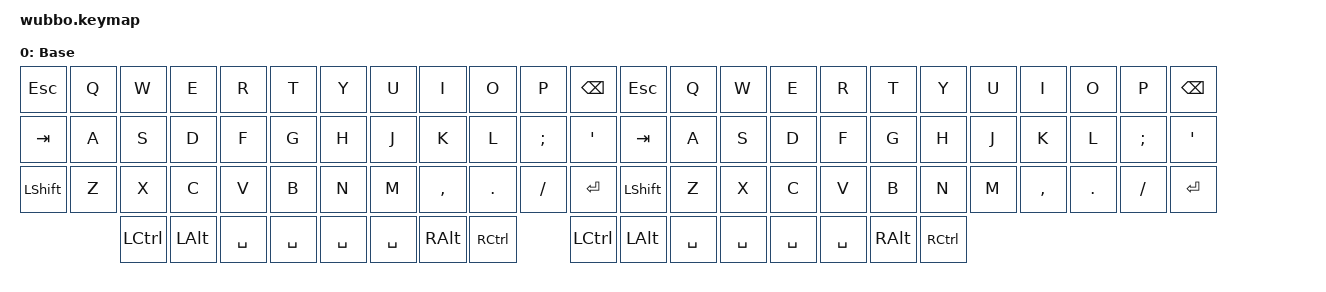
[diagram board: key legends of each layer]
/*
 * Copyright (c) 2022 Pete Johanson
 *
 * SPDX-License-Identifier: MIT
 */

#include <behaviors.dtsi>
#include <dt-bindings/zmk/keys.h>
#include <dt-bindings/zmk/bt.h>
#include <dt-bindings/zmk/outputs.h>



#define BAS_L 0
#define NAV_L 1
#define NUM_L 2
#define SYM_L 3

// Using layer taps on thumbs, having quick tap as well helps w/ repeating space/backspace
&lt { quick_tap_ms = <200>; };

#define BT(n) BT_SEL n

/ {
    chosen {
       zmk,matrix_transform =   &ortho_transform;
 
    };

    conditional_layers {
        compatible = "zmk,conditional-layers";
	tri_layer {
	    if-layers = <NAV_L NUM_L>;
	    then-layer = <SYM_L>;
	};
    };

    keymap {
        compatible = "zmk,keymap";

        base_layer {
            label = "Base";
            bindings = <

 &kp ESC    &kp Q      &kp W      &kp E       &kp R          &kp T          &kp Y            &kp U          &kp I       &kp O      &kp P         &kp BKSP &kp ESC    &kp Q      &kp W      &kp E       &kp R          &kp T          &kp Y            &kp U          &kp I       &kp O      &kp P         &kp BKSP 
 &kp TAB    &kp A      &kp S      &kp D       &kp F          &kp G          &kp H            &kp J          &kp K       &kp L      &kp SEMI      &kp QUOT &kp TAB    &kp A      &kp S      &kp D       &kp F          &kp G          &kp H            &kp J          &kp K       &kp L      &kp SEMI      &kp QUOT 
 &kp LSHFT  &kp Z      &kp X      &kp C       &kp V          &kp B          &kp N            &kp M          &kp COMMA   &kp DOT    &kp FSLH      &kp RET  &kp LSHFT  &kp Z      &kp X      &kp C       &kp V          &kp B          &kp N            &kp M          &kp COMMA   &kp DOT    &kp FSLH      &kp RET  
                       &kp LCTRL  &kp LALT     &kp SPACE      &kp SPACE      &kp SPACE         &kp SPACE     &kp RALT    &kp RCTRL &kp LCTRL  &kp LALT     &kp SPACE      &kp SPACE      &kp SPACE         &kp SPACE     &kp RALT    &kp RCTRL

                       
            >;
        };


    };
};

